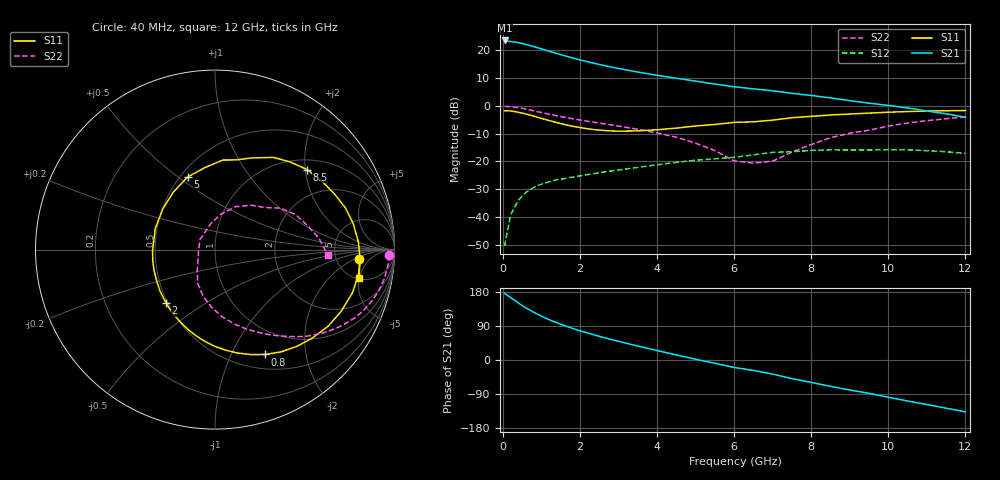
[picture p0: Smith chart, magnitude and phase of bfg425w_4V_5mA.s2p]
! Filename: 45bfg425.001
! BFG425W Field C1
! V1=8.213E-001V,V2=4.000E+000V, I1=5.090E-005A, I2=5.010E-003A
# GHz  S  MA  R 50
!  S11  S21  S12  S22
!Freq(GHz)  Mag  Ang  Mag  Ang  Mag  Ang  Mag  Ang
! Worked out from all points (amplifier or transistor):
!   44 points, 40 MHz to 12 GHz, reference 50 ohm
!   highest |S21| = 23.4 dB at 40 MHz (marker M1)
!   |S21| within 3 dB of that: start of sweep to 991.9 MHz
!   unconditionally stable (mu >= 1): 2.468 GHz to end of sweep
!   at 700 MHz: K = 0.36, MSG = 25.9 dB, |S12| = -30.2 dB
!   at 2.4 GHz: K = 0.98, MSG = 19.7 dB, |S12| = -24.3 dB
!   at 12 GHz: K = 1.51, MAG = 2.3 dB, |S12| = -17.1 dB
!   S11 on the Smith chart (normalised r, x): 40 MHz: 8.50, -2.61; 800 MHz: 0.67, -1.36; 2 GHz: 0.49, -0.35; 5 GHz: 0.55, +0.54; 8.5 GHz: 1.24, +2.05; 12 GHz: 5.09, -4.91
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0.04  0.806 -3.8  14.82 175.8  0.003 47.2  0.971 -1.8
0.2  0.803 -17.3  14.19 164.4  0.011 73.5  0.958 -9.6
0.3  0.783 -25.9  13.89 157.4  0.015 70.8  0.941 -14.1
0.5  0.733 -42.2  13.1 143.5  0.024 63.4  0.893 -22.5
0.6  0.706 -49.9  12.54 137.3  0.028 60.0  0.865 -26.2
0.8  0.648 -64.4  11.48 125.8  0.034 53.7  0.806 -32.9
1  0.59 -77.7  10.45 115.5  0.039 48.6  0.751 -38.5
1.3  0.517 -95.6  9.032 102.1  0.045 42.8  0.678 -45.6
1.6  0.458 -112.3  7.869 90.5  0.049 38.6  0.617 -51.5
2  0.404 -132.5  6.628 77.1  0.055 34.6  0.553 -58.5
2.2  0.385 -142.3  6.128 71.0  0.058 32.9  0.525 -61.8
2.6  0.359 -161.1  5.298 59.7  0.064 29.9  0.475 -68.5
3  0.348 -178.9  4.648 49.2  0.07 26.9  0.43 -75.1
3.5  0.353 160.4  4.012 36.8  0.078 22.8  0.377 -83.8
4.5  0.396 125.7  3.103 13.5  0.096 12.5  0.271 -103.7
5  0.432 110.7  2.758 1.9  0.105 5.5  0.212 -117.0
6  0.501 84.9  2.185 -19.7  0.118 -8.1  0.102 -156.1
6.5  0.513 76.9  2.001 -27.4  0.131 -9.2  0.093 -173.6
7.5  0.608 57.7  1.666 -49.3  0.149 -28.2  0.147 98.8
8.5  0.68 40.9  1.379 -69.6  0.161 -45.1  0.266 64.2
10.5  0.784 10.5  0.909 -108.2  0.161 -80.6  0.489 23.6
12  0.817 -11.3  0.62 -136.7  0.139 -111.9  0.629 -2.8
